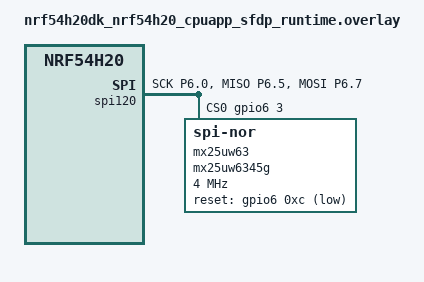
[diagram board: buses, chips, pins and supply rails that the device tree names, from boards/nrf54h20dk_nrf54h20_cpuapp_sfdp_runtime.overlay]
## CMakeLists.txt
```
#
# Copyright (c) 2024 Nordic Semiconductor
#
# SPDX-License-Identifier: LicenseRef-Nordic-5-Clause
#

cmake_minimum_required(VERSION 3.13.1)
find_package(Zephyr REQUIRED HINTS $ENV{ZEPHYR_BASE})
zephyr_include_directories(include)

project(flash)

target_sources(app PRIVATE ./../common/main.c)
target_sources(app PRIVATE src/driver_test.c)
```

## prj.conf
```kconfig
CONFIG_FLASH=y

# Enable runtime power management for peripheral
CONFIG_PM_DEVICE=y
CONFIG_PM_DEVICE_RUNTIME=y

CONFIG_PM=y
CONFIG_POWEROFF=y
CONFIG_CONSOLE=n
CONFIG_UART_CONSOLE=n
CONFIG_SERIAL=n
CONFIG_BOOT_BANNER=n
CONFIG_NCS_BOOT_BANNER=n
CONFIG_ASSERT=y
```

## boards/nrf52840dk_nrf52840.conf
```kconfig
CONFIG_NORDIC_QSPI_NOR=y
CONFIG_NORDIC_QSPI_NOR_FLASH_LAYOUT_PAGE_SIZE=4096
CONFIG_SOC_FLASH_NRF=n
```

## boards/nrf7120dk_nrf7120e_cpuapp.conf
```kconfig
CONFIG_FLASH_INIT_PRIORITY=90
```

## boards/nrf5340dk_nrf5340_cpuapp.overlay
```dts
/ {
	aliases {
		led = &led0;
	};
};

&mx25r64 {
	status = "okay";
};

&vregmain {
	regulator-initial-mode = <NRF5X_REG_MODE_LDO>;
};
```

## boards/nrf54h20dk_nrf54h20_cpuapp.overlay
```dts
&mx25uw63 {
	status = "okay";
};

&gpio6 {
	status = "okay";
	zephyr,pm-device-runtime-auto;
};

&exmif {
	status = "okay";
	zephyr,pm-device-runtime-auto;
};

/ {
	aliases {
		led = &led0;
		/delete-property/ led1;
		jedec-spi-nor = &mx25uw63;
	};
};

/delete-node/ &led1;

&gdpwr_slow_main {
	/delete-property/zephyr,pm-device-runtime-auto;
};
```

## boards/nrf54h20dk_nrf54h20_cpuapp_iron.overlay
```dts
&mx25uw63 {
	status = "okay";
};

&exmif {
	zephyr,pm-device-runtime-auto;
};

/ {
	aliases {
		led = &led0;
		/delete-property/ led1;
		jedec-spi-nor = &mx25uw63;
	};
};

/delete-node/ &led1;
```

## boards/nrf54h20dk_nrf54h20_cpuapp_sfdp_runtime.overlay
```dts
/ {
	aliases {
		led = &led0;
		/delete-property/ led1;
		jedec-spi-nor = &mx25uw63;
	};
};

/delete-node/ &led1;
/delete-node/ &exmif;

&pinctrl {
	spi120_default: spi120_default {
		group1 {
			psels = <NRF_PSEL(SPIM_SCK, 6, 0)>,
				<NRF_PSEL(SPIM_MISO, 6, 5)>,
				<NRF_PSEL(SPIM_MOSI, 6, 7)>;
		};
	};

	spi120_sleep: spi120_sleep {
		group1 {
			psels = <NRF_PSEL(SPIM_SCK, 6, 0)>,
				<NRF_PSEL(SPIM_MISO, 6, 5)>,
				<NRF_PSEL(SPIM_MOSI, 6, 7)>;
			low-power-enable;
		};
	};
};

&spi120 {
	compatible = "nordic,nrf-spim";
	status = "okay";
	pinctrl-0 = <&spi120_default>;
	pinctrl-1 = <&spi120_sleep>;
	pinctrl-names = "default", "sleep";
	overrun-character = <0x00>;
	memory-regions = <&dma_fast_region>;
	cs-gpios = <&gpio6 3 GPIO_ACTIVE_HIGH>;
	zephyr,pm-device-runtime-auto;
	mx25uw63: mx25uw6345g@0 {
      compatible = "jedec,spi-nor";
      status = "okay";
      reg = < 0x0 >;
      jedec-id = [ C2 84 37 ];
      size = < 0x2000000 >;
      spi-max-frequency = <DT_FREQ_M(4)>;
      has-dpd;
      t-enter-dpd = < 0x2710 >;
      t-exit-dpd = < 0x7530 >;
      reset-gpios = < &gpio6 0xc 0x1 >;
    };
};
```

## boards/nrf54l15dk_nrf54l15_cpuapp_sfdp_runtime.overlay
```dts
/ {
	aliases {
		led = &button3;
	};
};

&mx25r64 {
/* Will be read from flash memory in runtime */
/delete-property/ sfdp-bfp;
};
```

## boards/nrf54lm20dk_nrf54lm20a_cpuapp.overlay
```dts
/ {
	aliases {
		led = &led0;
		/delete-property/ led1;
	};
};

/delete-node/ &led1;

&mx25r64 {
	status = "okay";
};
```

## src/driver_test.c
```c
/*
 * Copyright (c) 2024 Nordic Semiconductor ASA
 *
 * SPDX-License-Identifier: LicenseRef-Nordic-5-Clause
 */

#include <zephyr/drivers/flash.h>
#include <zephyr/storage/flash_map.h>
#include <zephyr/kernel.h>

#if DT_HAS_COMPAT_STATUS_OKAY(jedec_spi_nor)
#define FLASH_NODE DT_COMPAT_GET_ANY_STATUS_OKAY(jedec_spi_nor)
#elif DT_HAS_COMPAT_STATUS_OKAY(nordic_qspi_nor)
#define FLASH_NODE DT_COMPAT_GET_ANY_STATUS_OKAY(nordic_qspi_nor)
#elif DT_HAS_COMPAT_STATUS_OKAY(jedec_nor)
#define FLASH_NODE DT_COMPAT_GET_ANY_STATUS_OKAY(jedec_nor)
#else
#error Unsupported flash driver
#define FLASH_NODE DT_INVALID_NODE
#endif

#define TEST_AREA_OFFSET 0xff000
#define EXPECTED_SIZE	 512
#define FLASH_PAGE_SIZE	 4096

uint8_t buf[EXPECTED_SIZE];

static const struct device *flash_dev = DEVICE_DT_GET(FLASH_NODE);

static bool suspend_req;

bool self_suspend_req(void)
{
	suspend_req = true;
	return true;
}

void thread_definition(void)
{
	int rc;
	uint8_t fill_value = 0x00;

	while (1) {
		if (suspend_req) {
			suspend_req = false;
			k_thread_suspend(k_current_get());
		}

		rc = flash_erase(flash_dev, TEST_AREA_OFFSET, FLASH_PAGE_SIZE);
		__ASSERT(rc == 0, "flash_erase %d\n", rc);
		rc = flash_fill(flash_dev, fill_value, TEST_AREA_OFFSET, EXPECTED_SIZE);
		__ASSERT(rc == 0, "flash_fill %d\n", rc);
		rc = flash_read(flash_dev, TEST_AREA_OFFSET, buf, EXPECTED_SIZE);
		__ASSERT(rc == 0, "flash_read %d\n", rc);
		for (size_t i = 0; i < EXPECTED_SIZE; i++) {
			__ASSERT(buf[i] == fill_value, "flash value %d but expected %d\n", buf[i],
				 fill_value);
			buf[i] = (uint8_t)i;
		}
		fill_value++;
	};
};
```
